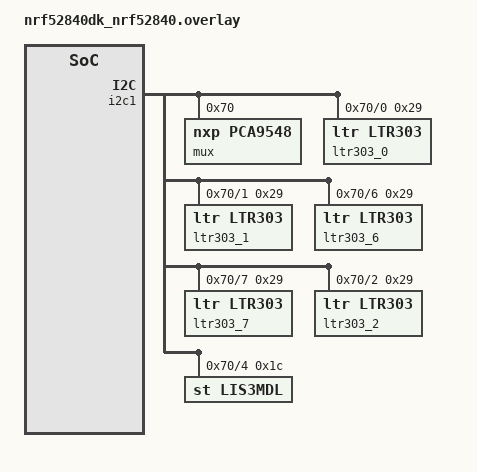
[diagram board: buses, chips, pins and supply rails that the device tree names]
&i2c1 {
    status = "okay";
    pinctrl-0 = <&i2c1_default>;
    pinctrl-1 = <&i2c1_sleep>;
    pinctrl-names = "default", "sleep";

    mux: pca9548@70 {
        compatible = "nxp,pca9548";
        reg = <0x70>;
        status = "okay";
        #address-cells = <1>;
        #size-cells = <0>;

        ch0: mux_i2c@0 {
            compatible = "nxp,pca9548-channel";
            reg = <0x0>;
            status = "okay";
            #address-cells = <1>;
            #size-cells = <0>;

            ltr303_0: ltr303@29 {
                compatible = "ltr,ltr303";
                reg = <0x29>;
                status = "okay";
            };
        };

        ch1: mux_i2c@1 {
            compatible = "nxp,pca9548-channel";
            reg = <0x1>;
            status = "okay";
            #address-cells = <1>;
            #size-cells = <0>;

            ltr303_1: ltr303@29 {
                compatible = "ltr,ltr303";
                reg = <0x29>;
                status = "okay";
            };
        };

        ch6: mux_i2c@6 {
            compatible = "nxp,pca9548-channel";
            reg = <0x6>;
            status = "okay";
            #address-cells = <1>;
            #size-cells = <0>;

            ltr303_6: ltr303@29 {
                compatible = "ltr,ltr303";
                reg = <0x29>;
                status = "okay";
            };
        };

        ch7: mux_i2c@7 {
            compatible = "nxp,pca9548-channel";
            reg = <0x7>;
            status = "okay";
            #address-cells = <1>;
            #size-cells = <0>;

            ltr303_7: ltr303@29 {
                compatible = "ltr,ltr303";
                reg = <0x29>;
                status = "okay";
            };
        };

        ch2: mux_i2c@2 {
            compatible = "nxp,pca9548-channel";
            reg = <0x2>;
            status = "okay";
            #address-cells = <1>;
            #size-cells = <0>;

            ltr303_2: ltr303@29 {
                compatible = "ltr,ltr303";
                reg = <0x29>;
                status = "okay";
            };
        };

        ch4: mux_i2c@4 {
            compatible = "nxp,pca9548-channel";
            reg = <0x4>;
            status = "okay";
            #address-cells = <1>;
            #size-cells = <0>;

            lis3mdl: lis3mdl@1c {
                compatible = "st,lis3mdl";
                reg = <0x1c>;
                status = "okay";
            };
        };
    };
};
